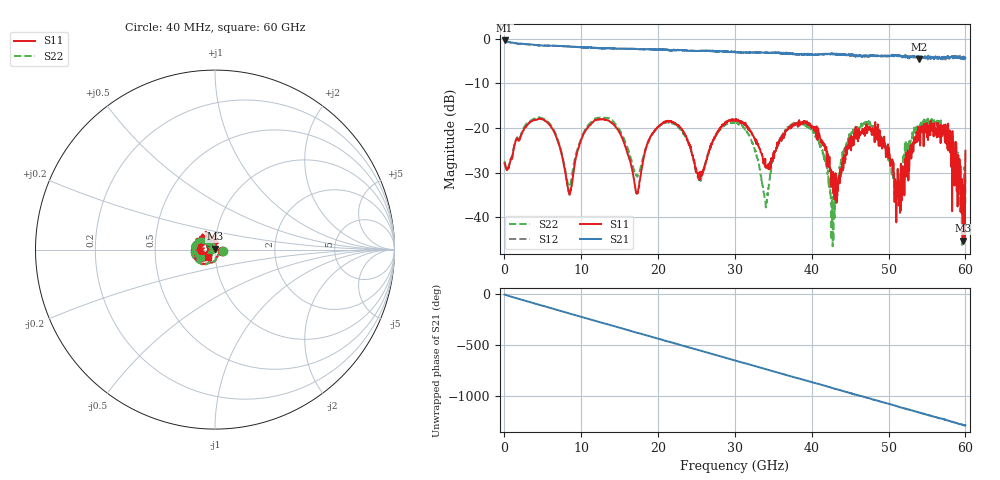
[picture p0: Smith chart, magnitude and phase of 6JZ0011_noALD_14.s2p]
! File created by 'SoftPlot +Plus+ Measurement Management Software'
! SoftPlot +Plus+ Measurement Management Software
! Start 40.000000 MHz  Stop 60.000000 GHz  Points 1601
# MHZ S RI R 50
! S-Parameter data, F S11 S21 S12 S22
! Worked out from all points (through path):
!   1601 points, 40 MHz to 60 GHz, reference 50 ohm
!   highest |S21| = -0.41 dB at 40 MHz (marker M1); lowest = -4.6 dB at 54 GHz (marker M2)
!   group delay of S21, straight-line fit = 59.3 ps
!   lowest |S11| = -45.2 dB at 59.7 GHz (marker M3), VSWR 1.01, Z = 49.8 + j0.522 ohm
!   |S11| at or under -10 dB: start of sweep to end of sweep
!   |S22| runs from -46.5 to -17.6 dB; largest |S21 - S12| = 0.06
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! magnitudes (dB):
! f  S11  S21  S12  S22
! 40 MHz  -28.0  -0.4  -0.4  -27.4
! 4.949 GHz  -18.1  -1.6  -1.6  -17.8
! 8.509 GHz  -35.0  -1.8  -1.7  -32.8
! 10.05 GHz  -22.5  -2.0  -1.9  -22.3
! 14.13 GHz  -19.1  -2.2  -2.2  -18.5
! 17.28 GHz  -34.7  -2.3  -2.3  -30.7
! 20.05 GHz  -19.7  -2.5  -2.4  -19.8
! 22.94 GHz  -20.0  -2.5  -2.6  -20.3
! 25.45 GHz  -31.1  -2.7  -2.7  -31.9
! 30.02 GHz  -18.3  -2.9  -2.9  -18.8
! 33.99 GHz  -28.5  -3.2  -3.1  -36.5
! 36.54 GHz  -20.8  -3.2  -3.3  -20.5
! 40.03 GHz  -19.7  -3.5  -3.5  -20.5
! 41.71 GHz  -23.7  -3.4  -3.4  -27.4
! 42.76 GHz  -29.8  -3.3  -3.5  -39.7
! 45.38 GHz  -23.8  -3.8  -3.9  -20.3
! 50.03 GHz  -24.4  -3.9  -3.9  -26.6
! 51.27 GHz  -31.6  -3.8  -3.7  -34.4
! 54 GHz  -20.6  -4.6  -4.1  -20.3
! 57.68 GHz  -24.7  -4.3  -4.4  -22.5
! 59.7 GHz  -45.2  -4.2  -4.3  -39.1
! 60 GHz  -25.1  -4.3  -4.5  -37.1
